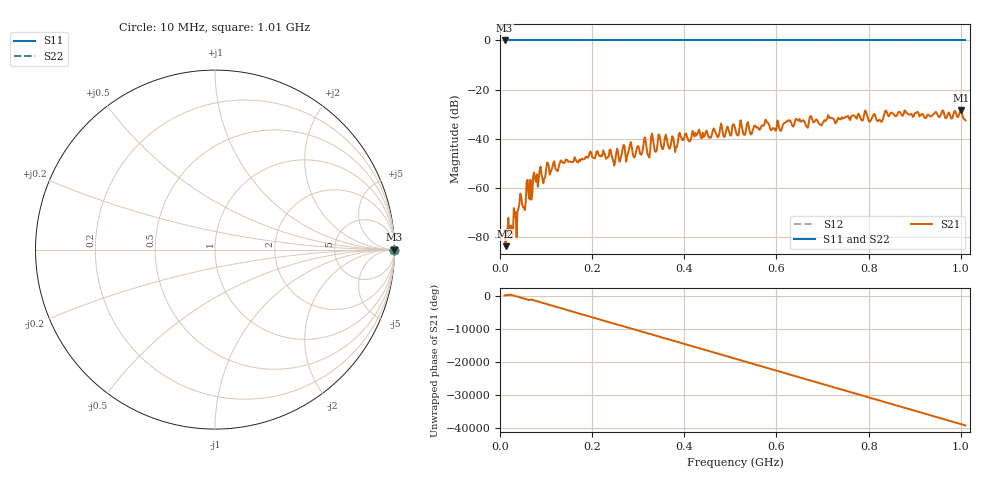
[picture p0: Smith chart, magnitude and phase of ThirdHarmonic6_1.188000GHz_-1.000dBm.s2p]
! 8/16/2025 12:11:43 PM
! C:\ANRITSUVNA\TEMP\TEMP.S2P
! CHANNEL.1
! TR.MEASUREMENT
! RAW.DATA
! RF.CORRECTION.OFF
! AVERAGING.OFF
! IF.BANDWIDTH: 5KHZ
! SWEEPTYPE:  FREQ.SWEEP(Linear)
! Reference Plane Port Info
! PORT:  PORT1  PORT2
! DISTANCE:  0  m  0  m
! TIME:  0  s  0  s
! PHASE.OFFSET:  0  deg.  0  deg.
! LOSS:  0  dB  0  dB
! REF.LOSS:  0  dB  0  dB
! REF.FREQ:  0  Hz  0  Hz
! Power Info
! POWER:  -20  dBm  -20  dBm
! EFF.POWER:  -20  dBm  -20  dBm
! SOURCE.ATTEN:  0  dB  0  dB
! TEST.ATTEN:  0  dB  0  dB
# GHZ S RI R 50.0
! FREQ.GHZ  S11RE  S11IM  S21RE  S21IM  S12RE  S12IM  S22RE  S22IM
!; PortSelection: Port_12
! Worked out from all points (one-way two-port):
!   501 points, 10 MHz to 1.01 GHz, reference 50 ohm
!   highest |S21| = -28.26 dB at 1 GHz (marker M1); lowest = -83.6 dB at 12 MHz (marker M2)
!   lowest |S11| = 0.0 dB at 10 MHz (marker M3)
!   |S11| at or under -10 dB: nowhere
!   |S22| runs from 0.0 to 0.0 dB; largest |S21 - S12| = 1
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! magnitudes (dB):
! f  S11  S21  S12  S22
! 10 MHz  0.0  -77.2  0.0  0.0
! 12 MHz  0.0  -83.6  0.0  0.0
! 32 MHz  0.0  -71.6  0.0  0.0
! 44 MHz  0.0  -62.2  0.0  0.0
! 52 MHz  0.0  -67.9  0.0  0.0
! 62 MHz  0.0  -62.6  0.0  0.0
! 66 MHz  0.0  -56.6  0.0  0.0
! 76 MHz  0.0  -56.2  0.0  0.0
! 178 MHz  0.0  -48.1  0.0  0.0
! 248 MHz  0.0  -50.8  0.0  0.0
! 314 MHz  0.0  -39.4  0.0  0.0
! 322 MHz  0.0  -46.9  0.0  0.0
! 330 MHz  0.0  -37.8  0.0  0.0
! 338 MHz  0.0  -45.3  0.0  0.0
! 344 MHz  0.0  -38.2  0.0  0.0
! 382 MHz  0.0  -43.2  0.0  0.0
! 392 MHz  0.0  -39.0  0.0  0.0
! 510 MHz  0.0  -35.6  0.0  0.0
! 678 MHz  0.0  -32.3  0.0  0.0
! 844 MHz  0.0  -30.8  0.0  0.0
! 1 GHz  0.0  -28.3  0.0  0.0
! 1.01 GHz  0.0  -32.5  0.0  0.0
